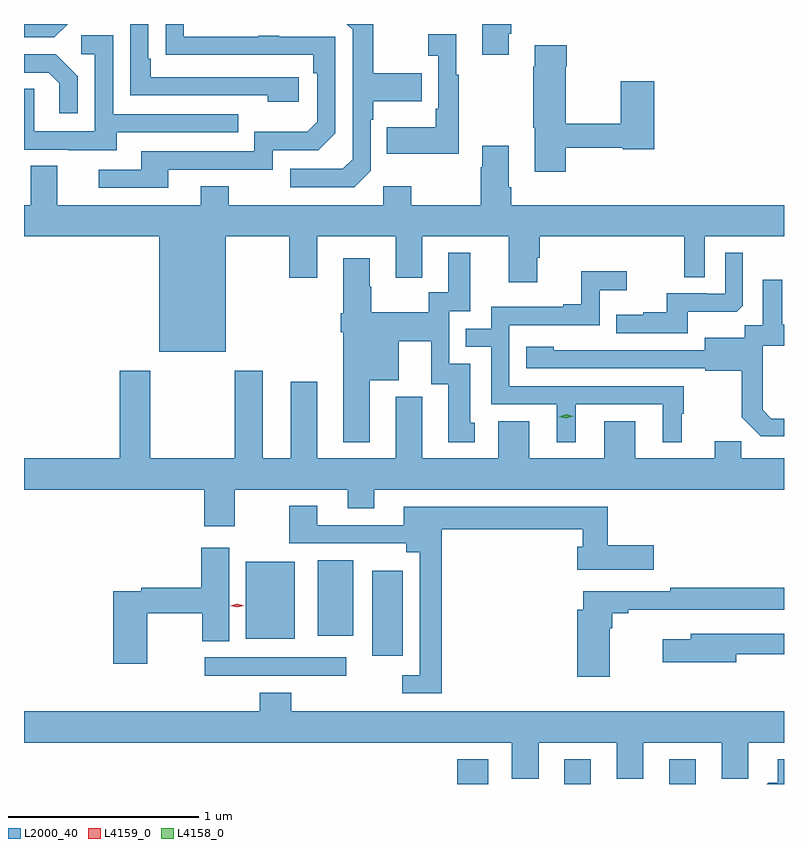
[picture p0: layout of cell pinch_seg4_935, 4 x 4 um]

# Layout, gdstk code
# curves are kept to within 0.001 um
import gdstk
lib = gdstk.Library(unit=1e-6, precision=1e-09)
def R(c, l, rs):  # rectangles x0, y0, x1, y1
    for r in rs: c.add(gdstk.rectangle(r[:2], r[2:], *l))
def P(c, l, *ps):  # polygons
    for p in ps: c.add(gdstk.Polygon(p, *l))
L2000_40 = (2000, 40)
L4158_0 = (4158, 0)
L4159_0 = (4159, 0)

pinch_seg4_935 = lib.new_cell('pinch_seg4_935')
R(pinch_seg4_935, L2000_40, [(722.141,765.966,722.305,766.096), (722.705,765.966,722.845,766.096), (723.257,765.966,723.397,766.096), (720.813,766.536,721.558,766.632), (721.694,766.641,721.855,767.089), (721.028,766.73,721.285,767.137), (721.406,766.745,721.594,767.143)])
P(pinch_seg4_935, L2000_40, [(722.413,769.915),(722.426,769.915),(722.426,769.966),(722.273,769.966),(722.273,769.803),(722.413,769.803)],
  [(721.686,769.194),(721.686,769.463),(721.699,769.463),(721.699,769.559),(721.955,769.559),(721.955,769.707),(721.699,769.707),(721.699,769.966),(721.559,769.966),(721.59,769.935),(721.59,769.254),(721.539,769.203),(721.263,769.203),(721.263,769.107),(721.599,769.107)],
  [(720.619,769.2),(721.17,769.2),(721.17,769.302),(721.41,769.302),(721.5,769.392),(721.5,769.899),(721.205,769.899),(721.205,769.904),(721.093,769.904),(721.093,769.899),(720.703,769.899),(720.703,769.966),(720.607,769.966),(720.607,769.804),(721.384,769.803),(721.384,769.706),(721.404,769.706),(721.404,769.452),(721.351,769.399),(721.074,769.399),(721.074,769.296),(720.479,769.296),(720.479,769.2),(720.255,769.2),(720.255,769.104),(720.619,769.104)],
  [(721.306,769.686),(720.529,769.686),(720.529,769.783),(720.516,769.783),(720.516,769.966),(720.42,769.966),(720.42,769.59),(721.145,769.59),(721.145,769.556),(721.306,769.556)],
  [(720.091,769.966),(719.861,769.966),(719.861,769.896),(720.021,769.896)],
  [(722.149,769.699),(722.137,769.699),(722.137,769.912),(721.989,769.912),(721.989,769.799),(722.04,769.799),(722.04,769.519),(722.028,769.519),(722.028,769.423),(721.771,769.423),(721.771,769.283),(722.149,769.283)],
  [(720.349,769.395),(720.989,769.395),(720.989,769.491),(720.33,769.491),(720.33,769.907),(720.162,769.907),(720.162,769.806),(720.234,769.806),(720.234,769.401),(719.916,769.401),(719.916,769.625),(719.861,769.625),(719.861,769.305),(720.095,769.305),(720.095,769.301),(720.349,769.301)],
  [(722.712,769.314),(723.012,769.314),(723.012,769.306),(723.179,769.306),(723.179,769.666),(723.001,769.666),(723.001,769.442),(722.712,769.442),(722.712,769.742),(722.717,769.742),(722.717,769.855),(722.549,769.855),(722.549,769.742),(722.542,769.742),(722.542,769.419),(722.549,769.419),(722.549,769.188),(722.712,769.188)],
  [(720.144,769.69),(720.028,769.806),(719.861,769.806),(719.861,769.71),(719.99,769.71),(720.047,769.653),(720.047,769.497),(720.144,769.497)],
  [(721.817,768.63),(721.957,768.63),(721.957,768.848),(722.411,768.848),(722.411,768.606),(722.563,768.606),(722.563,768.735),(722.576,768.735),(722.576,768.848),(723.336,768.848),(723.336,768.634),(723.444,768.634),(723.444,768.848),(723.861,768.848),(723.861,769.012),(722.426,769.012),(722.426,769.108),(722.413,769.108),(722.413,769.324),(722.273,769.324),(722.273,769.211),(722.266,769.211),(722.266,769.012),(721.899,769.012),(721.899,769.111),(721.752,769.111),(721.752,769.012),(720.939,769.012),(720.939,769.111),(720.791,769.111),(720.791,769.012),(720.037,769.012),(720.037,769.22),(719.897,769.22),(719.897,769.012),(719.861,769.012),(719.861,768.848),(720.572,768.848),(720.572,768.242),(720.922,768.242),(720.922,768.848),(721.258,768.848),(721.258,768.63),(721.405,768.63),(721.405,768.848),(721.817,768.848)],
  [(723.355,768.452),(723.613,768.452),(723.645,768.483),(723.645,768.763),(723.552,768.763),(723.552,768.546),(723.452,768.546),(723.452,768.549),(723.245,768.549),(723.245,768.448),(723.121,768.448),(723.121,768.436),(722.977,768.436),(722.977,768.339),(723.355,768.339)],
  [(721.681,768.092),(721.834,768.092),(721.834,768.296),(722.004,768.296),(722.004,768.069),(722.093,768.069),(722.093,767.766),(722.233,767.766),(722.233,767.868),(722.209,767.868),(722.209,768.177),(722.1,768.177),(722.1,768.453),(722.209,768.453),(722.209,768.763),(722.093,768.763),(722.093,768.554),(721.992,768.554),(721.992,768.448),(721.689,768.448),(721.689,768.582),(721.681,768.582),(721.681,768.733),(721.541,768.733),(721.541,768.444),(721.529,768.444),(721.529,768.344),(721.541,768.344),(721.541,767.765),(721.681,767.765)],
  [(722.764,767.964),(723.224,767.964),(723.224,767.765),(723.322,767.765),(723.322,767.916),(723.334,767.916),(723.334,768.06),(722.415,768.06),(722.415,768.381),(722.892,768.381),(722.892,768.566),(723.034,768.566),(723.034,768.665),(722.794,768.665),(722.794,768.49),(722.699,768.49),(722.699,768.477),(722.319,768.477),(722.319,768.363),(722.185,768.363),(722.185,768.267),(722.319,768.267),(722.319,767.964),(722.666,767.964),(722.666,767.765),(722.764,767.765)],
  [(723.861,767.889),(723.795,767.889),(723.748,767.936),(723.748,768.031),(723.75,768.031),(723.75,768.272),(723.861,768.272),(723.861,768.382),(723.853,768.382),(723.853,768.619),(723.749,768.619),(723.749,768.38),(723.654,768.38),(723.654,768.316),(723.443,768.316),(723.443,768.249),(722.649,768.25),(722.649,768.268),(722.505,768.268),(722.505,768.153),(723.447,768.153),(723.447,768.141),(723.639,768.141),(723.639,767.895),(723.739,767.795),(723.861,767.795)],
  [(721.405,768.082),(721.265,768.082),(721.265,767.68),(721.117,767.68),(721.117,768.142),(720.97,768.142),(720.97,767.68),(720.525,767.68),(720.525,768.142),(720.365,768.142),(720.365,767.68),(719.861,767.68),(719.861,767.516),(720.809,767.516),(720.809,767.322),(720.969,767.322),(720.969,767.516),(721.565,767.516),(721.565,767.417),(721.705,767.417),(721.705,767.516),(723.861,767.516),(723.861,767.68),(723.635,767.68),(723.635,767.771),(723.497,767.771),(723.497,767.68),(723.079,767.68),(723.079,767.875),(722.915,767.875),(722.915,767.68),(722.521,767.68),(722.521,767.875),(722.357,767.875),(722.357,767.68),(721.957,767.68),(721.957,768.004),(721.817,768.004),(721.817,767.68),(721.405,767.68)],
  [(722.06,767.308),(722.801,767.308),(722.801,767.215),(722.774,767.215),(722.774,767.093),(723.175,767.093),(723.175,767.223),(722.933,767.223),(722.933,767.424),(721.859,767.424),(721.859,767.328),(721.405,767.328),(721.405,767.431),(721.258,767.431),(721.258,767.232),(721.874,767.232),(721.874,767.186),(721.944,767.186),(721.944,766.539),(721.851,766.539),(721.851,766.443),(722.06,766.443)],
  [(720.51,766.864),(720.799,766.864),(720.799,766.717),(720.94,766.717),(720.94,767.209),(720.794,767.209),(720.794,767),(720.478,767),(720.478,766.98),(720.332,766.98),(720.332,766.599),(720.51,766.599)],
  [(722.944,766.787),(722.957,766.787),(722.957,766.864),(723.04,766.864),(723.04,766.883),(723.234,766.883),(723.234,766.884),(723.861,766.884),(723.861,767),(723.262,767),(723.262,766.98),(722.804,766.98),(722.804,766.882),(722.774,766.882),(722.774,766.53),(722.944,766.53)],
  [(723.61,766.65),(723.861,766.65),(723.861,766.758),(723.371,766.758),(723.371,766.729),(723.222,766.729),(723.222,766.607),(723.61,766.607)],
  [(722.569,766.184),(722.981,766.184),(722.981,765.994),(723.121,765.994),(723.121,766.184),(723.533,766.184),(723.533,765.994),(723.672,765.994),(723.672,766.184),(723.861,766.184),(723.861,766.348),(721.268,766.348),(721.268,766.447),(721.103,766.447),(721.103,766.348),(719.861,766.348),(719.861,766.184),(722.429,766.184),(722.429,765.994),(722.569,765.994)],
  [(723.861,766.096),(723.827,766.096),(723.827,765.973),(723.778,765.973),(723.771,765.966),(723.861,765.966)])
P(pinch_seg4_935, L4158_0, [(722.715,767.891),(722.679,767.9),(722.679,767.9),(722.679,767.9),(722.715,767.911),(722.751,767.902),(722.751,767.902),(722.751,767.902)])
P(pinch_seg4_935, L4159_0, [(720.983,766.895),(720.946,766.905),(720.946,766.905),(720.946,766.905),(720.983,766.915),(721.02,766.905),(721.02,766.905),(721.02,766.905)])

lib.write_gds('pinch_seg4_935.gds')
